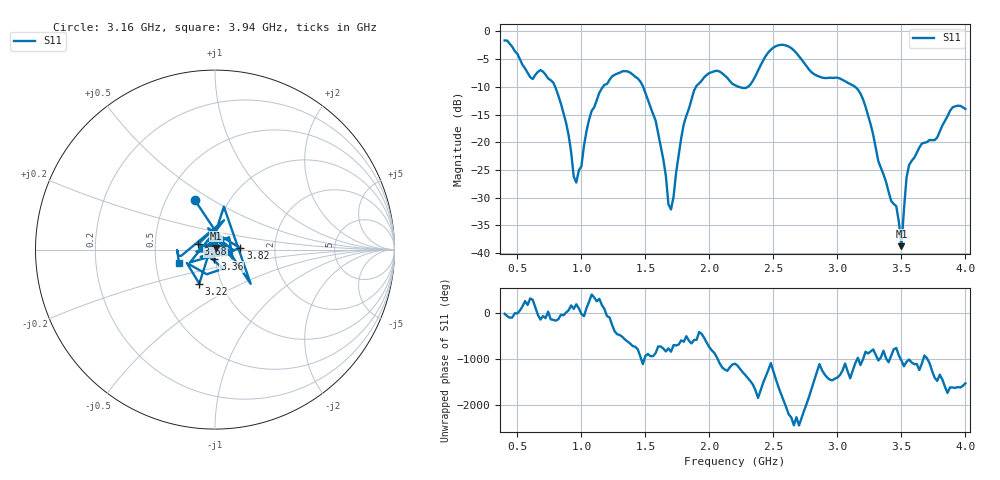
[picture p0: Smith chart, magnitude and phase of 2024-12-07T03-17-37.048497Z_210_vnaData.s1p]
!Created with skrf (http://scikit-rf.org).
# Hz S RI R 50.0
!freq ReS11 ImS11
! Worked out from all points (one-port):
!   181 points, 400 MHz to 4 GHz, reference 50 ohm
!   lowest |S11| = -38.8 dB at 3.5 GHz (marker M1), VSWR 1.02, Z = 50.6 + j0.98 ohm
!   |S11| at or under -10 dB: 795 MHz to 1.168 GHz (373.2 MHz wide, 38 % of centre); 1.483 GHz to 1.895 GHz (412.7 MHz wide, 24.4 % of centre); 3.139 GHz to end of sweep (the widest 3 of 4)
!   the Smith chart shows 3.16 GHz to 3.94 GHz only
!   S11 on the Smith chart (normalised r, x): 3.16 GHz: 0.69, +0.42; 3.22 GHz: 0.78, -0.31; 3.36 GHz: 0.99, -0.10; 3.68 GHz: 0.83, +0.05; 3.82 GHz: 1.33, +0.02; 3.94 GHz: 0.66, -0.10
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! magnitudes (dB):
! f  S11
! 400 MHz  -1.6
! 600 MHz  -8.2
! 780 MHz  -9.2
! 860 MHz  -14.7
! 960 MHz  -27.3
! 1.08 GHz  -14.3
! 1.3 GHz  -7.4
! 1.48 GHz  -9.8
! 1.58 GHz  -16.1
! 1.7 GHz  -32.1
! 1.76 GHz  -22.3
! 1.9 GHz  -9.8
! 2.06 GHz  -7.1
! 2.2 GHz  -9.7
! 2.52 GHz  -2.6
! 2.66 GHz  -3.4
! 3.1 GHz  -9.5
! 3.16 GHz  -10.5
! 3.22 GHz  -13.6
! 3.36 GHz  -25.8
! 3.46 GHz  -31.5
! 3.5 GHz  -38.8
! 3.54 GHz  -26.4
! 3.56 GHz  -24.1
! 3.68 GHz  -20.1
! 3.82 GHz  -17.0
! 3.94 GHz  -13.4
! 4 GHz  -14.0
